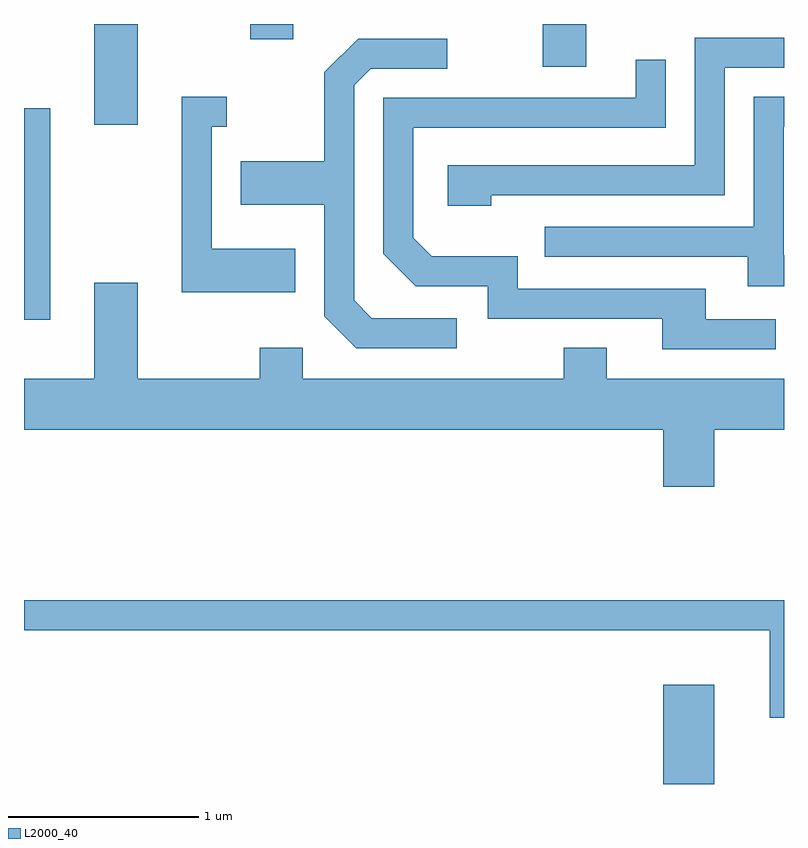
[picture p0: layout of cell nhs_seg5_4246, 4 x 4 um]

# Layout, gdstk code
import gdstk
lib = gdstk.Library(unit=1e-6, precision=1e-09)
def R(c, l, rs):  # rectangles x0, y0, x1, y1
    for r in rs: c.add(gdstk.rectangle(r[:2], r[2:], *l))
def P(c, l, *ps):  # polygons
    for p in ps: c.add(gdstk.Polygon(p, *l))
L2000_40 = (2000, 40)

nhs_seg5_4246 = lib.new_cell('nhs_seg5_4246')
R(nhs_seg5_4246, L2000_40, [(314.976,1426.072,315.244,1426.594), (311.611,1428.516,311.749,1429.629), (311.981,1429.541,312.209,1430.072), (314.341,1429.846,314.569,1430.072), (312.801,1429.991,313.029,1430.072)])
P(nhs_seg5_4246, L2000_40, [(314.069,1429.171),(315.299,1429.171),(315.299,1429.841),(315.611,1429.841),(315.611,1429.999),(315.141,1429.999),(315.141,1429.329),(313.841,1429.329),(313.841,1429.116),(314.069,1429.116)],
  [(313.888,1428.524),(313.442,1428.524),(313.349,1428.617),(313.349,1429.749),(313.437,1429.836),(313.838,1429.836),(313.838,1429.994),(313.369,1429.994),(313.191,1429.817),(313.191,1429.349),(312.751,1429.349),(312.751,1429.121),(313.191,1429.121),(313.191,1428.534),(313.359,1428.366),(313.888,1428.366)],
  [(315.568,1428.519),(315.199,1428.519),(315.199,1428.679),(314.209,1428.679),(314.209,1428.849),(313.757,1428.849),(313.659,1428.947),(313.659,1429.526),(314.989,1429.526),(314.989,1429.883),(314.831,1429.883),(314.831,1429.684),(313.501,1429.684),(313.501,1428.864),(313.674,1428.691),(314.051,1428.691),(314.051,1428.521),(314.971,1428.521),(314.971,1428.361),(315.568,1428.361)],
  [(315.611,1428.854),(315.609,1428.854),(315.609,1429.531),(315.611,1429.531),(315.611,1429.689),(315.451,1429.689),(315.451,1429.004),(314.353,1429.004),(314.353,1428.846),(315.421,1428.846),(315.421,1428.691),(315.611,1428.691)],
  [(313.039,1428.889),(312.599,1428.889),(312.599,1429.531),(312.678,1429.531),(312.678,1429.689),(312.441,1429.689),(312.441,1428.661),(313.039,1428.661)],
  [(315.244,1427.936),(315.611,1427.936),(315.611,1428.204),(314.679,1428.204),(314.679,1428.369),(314.451,1428.369),(314.451,1428.204),(313.079,1428.204),(313.079,1428.369),(312.851,1428.369),(312.851,1428.204),(312.209,1428.204),(312.209,1428.709),(311.981,1428.709),(311.981,1428.204),(311.611,1428.204),(311.611,1427.936),(314.976,1427.936),(314.976,1427.636),(315.244,1427.636)],
  [(315.611,1427.039),(311.611,1427.039),(311.611,1426.881),(315.536,1426.881),(315.536,1426.421),(315.611,1426.421)])

lib.write_gds('nhs_seg5_4246.gds')
